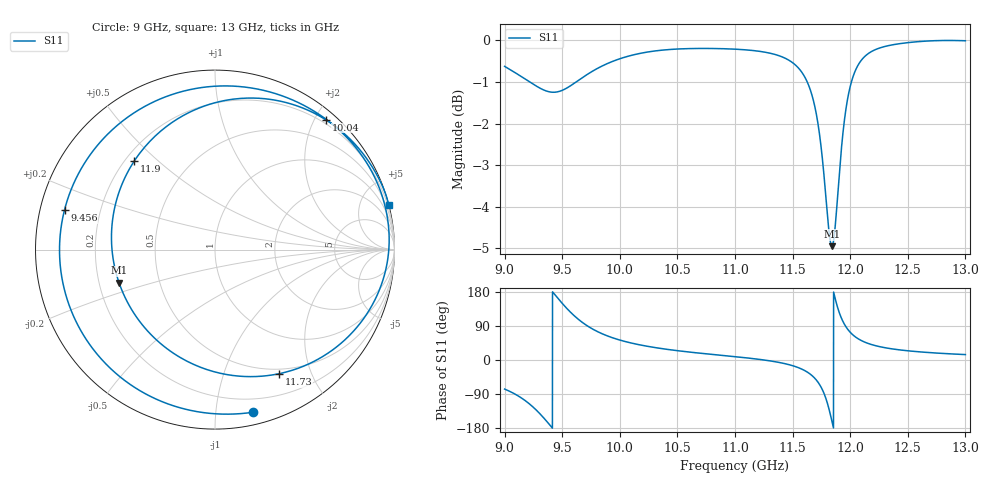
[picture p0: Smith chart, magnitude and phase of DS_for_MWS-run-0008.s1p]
! TOUCHSTONE file generated by CST DESIGN STUDIO
! Date and time: Tue Feb  4 13:58:12 2025
! Project name: C:\Work\MatlabApps\UnitCellOptimizationMatlab\CST\unitcell.cst
! Tree item: Tasks\Sweep1\SPara1\S-Parameters
! Header version: 2024
! Port assignment regex: !\s*Touchstone port\s*([0-9]+)\s*=\s*(CST MWS port|CST DES external port|CST DES block port)\s*(.+)\s* \(\"(.*)\"\)(\s*mode\s*([0-9]+))?.*
! Touchstone port assignment:
! Touchstone port 1 = CST DES external port 1 ("")
# GHz S MA R 50
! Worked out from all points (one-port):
!   4001 points, 9 GHz to 13 GHz, reference 50 ohm
!   lowest |S11| = -5.0 dB at 11.84 GHz (marker M1), VSWR 3.60, Z = 14.2 - j7.73 ohm
!   |S11| at or under -10 dB: nowhere
!   S11 on the Smith chart (normalised r, x): 9 GHz: 0.09, -1.26; 9.456 GHz: 0.07, +0.13; 10.04 GHz: 0.13, +2.17; 11.73 GHz: 0.44, -1.55; 11.9 GHz: 0.24, +0.42; 13 GHz: 0.03, +7.97
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9  0.9307 -76.7
9.141  0.9055 -99.2
9.244  0.8867 -123.3
9.363  0.8692 -160.9
9.456  0.8671 165.2
9.5  0.8708 149.5
9.588  0.8849 121.4
9.684  0.9038 97.1
9.832  0.9295 71.2
10  0.9505 52.6
10.038  0.9542 49.4
10.5  0.9765 24.6
11  0.9761 8.8
11.302  0.9654 -2.2
11.5  0.9402 -15.0
11.639  0.8833 -34.2
11.73  0.7778 -62.8
11.789  0.6479 -101.5
11.814  0.5926 -127.1
11.841  0.5655 -160.9
11.868  0.5937 164.1
11.897  0.6672 132.5
11.942  0.785 98.7
12  0.8801 73.2
12.072  0.9358 55.5
12.167  0.9664 42.5
12.5  0.9939 24.3
13  0.9991 14.3
